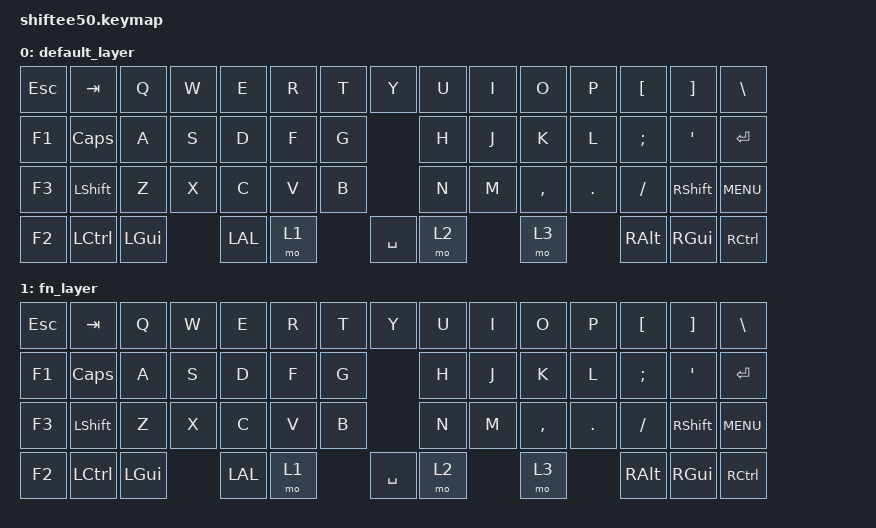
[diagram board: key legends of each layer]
/*
 * Copyright (c) 2020 The ZMK Contributors
 *
 * SPDX-License-Identifier: MIT
 */

#include <behaviors.dtsi>
#include <dt-bindings/zmk/keys.h>
#include <dt-bindings/zmk/bt.h>




/ {
    keymap0: keymap {
        compatible = "zmk,keymap";

        default_layer {
    // ------------------------------------------------------------------------------------------
    //| ESC | TAB |  Q  |  W  |  E  |  R  |  T  |  Y  |  U  |  I  |  O  |  P  |  [  |  ]  |  \  |
    //| F1  | CAPS  |  A  |  S  |  D  |  F  |  G  |  H  |  J  |  K  |  L  |  ;  |  '  |  ENTER  |
    //| F2  |  SHIFT |  Z  |  X  |  C  |  V  |  B  |  N  |  M  |  ,  |  .  |  /  | SHIFT | MEN  |
    //| F3  |  CTL  | WIN  |  ALT  | MO1 |  SPACE    |  MO2   | MO3 | ALT | MO(1) | WIN  | CTRL |
    // ------------------------------------------------------------------------------------------
    bindings = <
            &kp ESC  &kp TAB  &kp Q  &kp W  &kp E  &kp R  &kp T  &kp Y  &kp U  &kp I  &kp O  &kp P  &kp LBKT &kp RBKT  &kp BSLH
            &kp F1   &kp CLCK &kp A  &kp S  &kp D  &kp F  &kp G  &kp H  &kp J  &kp K  &kp L  &kp SEMI &kp APOS         &kp RET
            &kp F3   &kp LSHFT &kp Z  &kp X  &kp C  &kp V  &kp B  &kp N  &kp M &kp COMMA &kp DOT &kp SLASH  &kp RSHFT  &kp MENU
            &kp F2   &kp LCTRL  &kp LGUI  &kp LAL  &mo  1     &kp SPACE &mo 2      &mo 3             &kp RALT &kp RGUI &kp RCTRL
            >;
        };

        fn_layer {
            bindings = <
            &kp ESC  &kp TAB  &kp Q  &kp W  &kp E  &kp R  &kp T  &kp Y  &kp U  &kp I  &kp O  &kp P  &kp LBKT &kp RBKT  &kp BSLH
            &kp F1   &kp CLCK &kp A  &kp S  &kp D  &kp F  &kp G  &kp H  &kp J  &kp K  &kp L  &kp SEMI &kp APOS         &kp RET
            &kp F3   &kp LSHFT &kp Z  &kp X  &kp C  &kp V  &kp B  &kp N  &kp M &kp COMMA &kp DOT &kp SLASH  &kp RSHFT  &kp MENU
            &kp F2   &kp LCTRL  &kp LGUI  &kp LAL  &mo  1     &kp SPACE &mo 2      &mo 3             &kp RALT &kp RGUI &kp RCTRL
            >;
        };
    };
};
